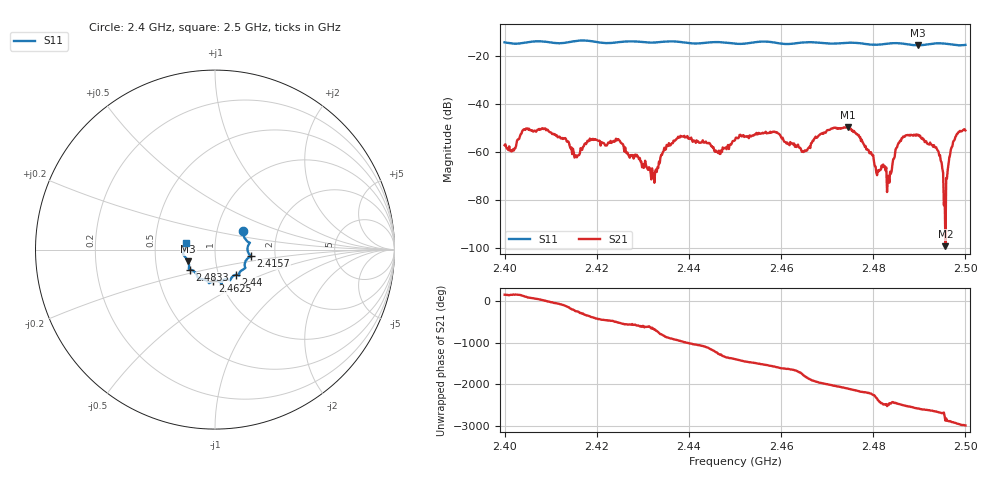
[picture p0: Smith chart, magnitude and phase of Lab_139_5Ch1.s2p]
# Hz S RI R 50
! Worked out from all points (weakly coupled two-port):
!   601 points, 2.4 GHz to 2.5 GHz, reference 50 ohm
!   highest |S21| = -49.75 dB at 2.4745 GHz (marker M1); lowest = -99.1 dB at 2.4957 GHz (marker M2)
!   lowest |S11| = -15.7 dB at 2.4897 GHz (marker M3), VSWR 1.39, Z = 36.7 - j4.95 ohm
!   |S11| at or under -10 dB: start of sweep to end of sweep
!   S12 and S22 are empty: the file has one direction only
!   S11 on the Smith chart (normalised r, x): 2.4 GHz: 1.33, +0.29; 2.4157 GHz: 1.49, -0.12; 2.44 GHz: 1.21, -0.35; 2.4625 GHz: 0.92, -0.34; 2.4833 GHz: 0.74, -0.17; 2.5 GHz: 0.72, +0.06
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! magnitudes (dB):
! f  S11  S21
! 2.4 GHz  -14.5  -57.2
! 2.4083 GHz  -14.1  -50.4
! 2.4157 GHz  -13.9  -62.2
! 2.4167 GHz  -13.7  -59.0
! 2.4245 GHz  -14.5  -54.8
! 2.4322 GHz  -14.6  -69.6
! 2.4333 GHz  -14.4  -66.7
! 2.4352 GHz  -14.1  -57.1
! 2.44 GHz  -14.8  -54.2
! 2.4463 GHz  -14.4  -60.4
! 2.45 GHz  -15.0  -55.1
! 2.4587 GHz  -14.6  -51.8
! 2.4625 GHz  -15.0  -56.4
! 2.4667 GHz  -14.4  -56.3
! 2.4745 GHz  -14.7  -49.8
! 2.4833 GHz  -15.0  -69.9
! 2.486 GHz  -14.9  -55.4
! 2.4897 GHz  -15.7  -52.8
! 2.494 GHz  -14.9  -59.4
! 2.4957 GHz  -15.0  -99.1
! 2.4973 GHz  -15.5  -55.8
! 2.5 GHz  -15.5  -51.1
